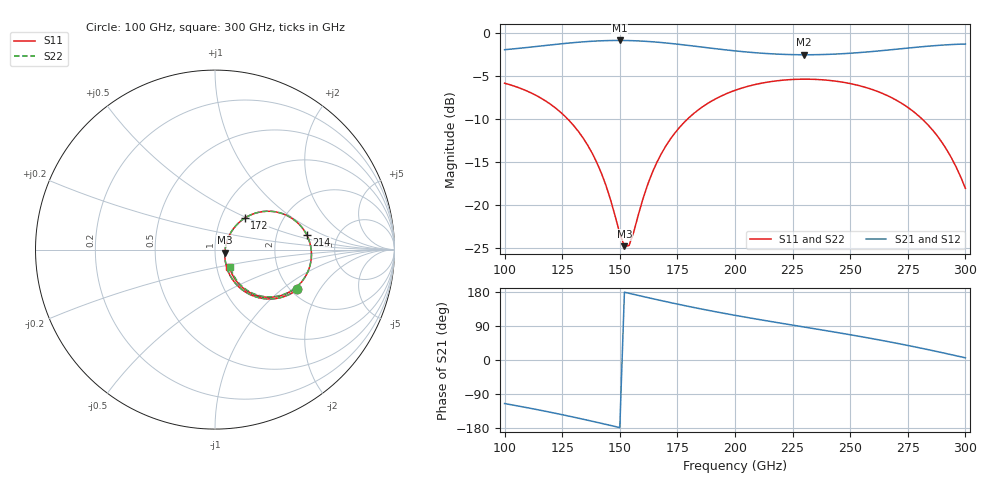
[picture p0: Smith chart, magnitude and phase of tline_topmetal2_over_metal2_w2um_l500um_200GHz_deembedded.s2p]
! Created with skrf 2.2.0 (http://scikit-rf.org).
# GHz S DB R 50.0
! Port[1] = P1
! Port[2] = P2
!freq dBS11 angS11 dBS21 angS21 dBS12 angS12 dBS22 angS22
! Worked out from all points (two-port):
!   101 points, 100 GHz to 300 GHz, reference 50 ohm
!   highest |S21| = -0.86 dB at 150 GHz (marker M1); lowest = -2.5 dB at 230 GHz (marker M2)
!   |S21| within 3 dB of the highest: start of sweep to end of sweep
!   lowest |S11| = -24.8 dB at 152 GHz (marker M3), VSWR 1.12, Z = 55.8 - j1.82 ohm
!   |S11| at or under -10 dB: 127.3 GHz to 179.5 GHz (52.17 GHz wide, 34 % of centre); 281.1 GHz to end of sweep
!   |S22| runs from -24.8 to -5.4 dB; largest |S21 - S12| = 9.2e-14
!   S11 on the Smith chart (normalised r, x): 100 GHz: 2.16, -1.30; 172 GHz: 1.30, +0.48; 214 GHz: 2.98, +0.67; 300 GHz: 1.15, -0.22
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100  -5.84 -25.8  -1.94 -114.9  -1.94 -114.9  -5.85 -25.8
120  -8.31 -45.3  -1.38 -138.1  -1.38 -138.1  -8.31 -45.2
134  -12.20 -57.5  -1.03 -156.2  -1.03 -156.2  -12.20 -57.4
142  -16.32 -59.5  -0.90 -167.1  -0.90 -167.1  -16.32 -59.4
146  -19.43 -54.6  -0.87 -172.7  -0.87 -172.7  -19.43 -54.5
150  -23.35 -36.0  -0.86 -178.3  -0.86 -178.3  -23.34 -35.9
152  -24.83 -16.4  -0.87 178.9  -0.87 178.9  -24.81 -16.3
154  -24.76 7.3  -0.88 176.0  -0.88 176.0  -24.74 7.3
162  -17.72 47.1  -0.98 164.9  -0.98 164.9  -17.72 47.1
168  -14.07 48.5  -1.11 156.8  -1.11 156.8  -14.07 48.6
172  -12.33 46.6  -1.21 151.5  -1.21 151.5  -12.33 46.6
184  -8.97 36.8  -1.58 136.3  -1.58 136.3  -8.97 36.9
200  -6.68 21.9  -2.08 117.9  -2.08 117.9  -6.68 22.0
214  -5.72 9.2  -2.39 103.2  -2.39 103.2  -5.72 9.3
230  -5.37 -5.0  -2.53 87.1  -2.53 87.1  -5.37 -4.8
234  -5.39 -8.5  -2.52 83.0  -2.52 83.0  -5.39 -8.3
252  -6.00 -24.5  -2.32 64.5  -2.32 64.5  -6.00 -24.2
268  -7.53 -39.0  -1.94 46.7  -1.94 46.7  -7.53 -38.6
278  -9.26 -47.8  -1.67 34.7  -1.67 34.7  -9.25 -47.1
286  -11.38 -53.6  -1.48 24.5  -1.48 24.5  -11.35 -52.7
294  -14.57 -55.9  -1.34 13.9  -1.34 13.9  -14.50 -54.6
300  -18.09 -50.0  -1.28 5.7  -1.28 5.7  -17.90 -48.2
